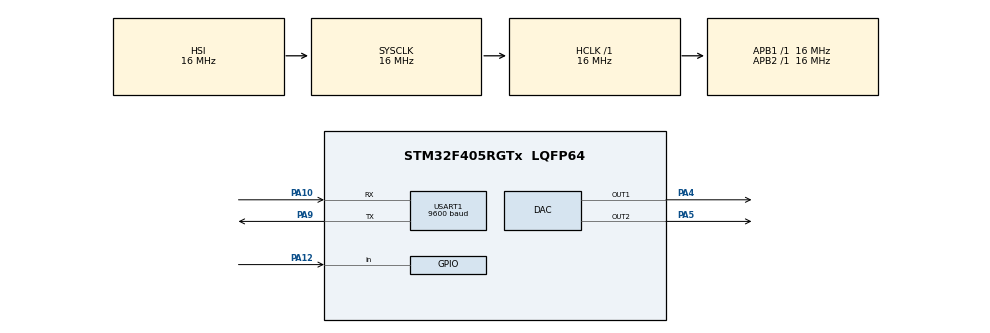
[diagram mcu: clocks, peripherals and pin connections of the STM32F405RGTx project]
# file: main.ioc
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Mcu.Family=STM32F4
Mcu.Name=STM32F405RGTx
Mcu.Package=LQFP64
NVIC.PriorityGroup=NVIC_PRIORITYGROUP_4
PA10.Mode=Asynchronous
PA10.Signal=USART1_RX
PA12.Signal=GPIO_Input
PA13.Mode=Serial_Wire
PA13.Signal=SYS_JTMS-SWDIO
PA14.Mode=Serial_Wire
PA14.Signal=SYS_JTCK-SWCLK
PA4.Signal=COMP_DAC1_group
PA5.Signal=COMP_DAC2_group
PA9.Mode=Asynchronous
PA9.Signal=USART1_TX
PC14-OSC32_IN.Mode=LSE-External-Oscillator
PC14-OSC32_IN.Signal=RCC_OSC32_IN
PC15-OSC32_OUT.Mode=LSE-External-Oscillator
PC15-OSC32_OUT.Signal=RCC_OSC32_OUT
PH0-OSC_IN.Mode=HSE-External-Oscillator
PH0-OSC_IN.Signal=RCC_OSC_IN
PH1-OSC_OUT.Mode=HSE-External-Oscillator
PH1-OSC_OUT.Signal=RCC_OSC_OUT
ProjectManager.HeapSize=0x200
ProjectManager.StackSize=0x400
ProjectManager.TargetToolchain=Makefile
RCC.48MHZClocksFreq_Value=48000000
RCC.AHBFreq_Value=16000000
RCC.APB1Freq_Value=16000000
RCC.APB2Freq_Value=16000000
RCC.CortexFreq_Value=16000000
RCC.HSE_VALUE=16000000
RCC.HSI_VALUE=16000000
RCC.PLLSourceVirtual=RCC_PLLSOURCE_HSE
RCC.RCC_RTC_Clock_SourceVirtual=RCC_RTCCLKSOURCE_LSE
RCC.SYSCLKFreq_VALUE=16000000
RCC.VCOOutputFreq_Value=192000000
SH.COMP_DAC1_group.0=DAC_OUT1,DAC_OUT1
SH.COMP_DAC2_group.0=DAC_OUT2,DAC_OUT2
USART1.BaudRate=9600
USART1.VirtualMode=VM_ASYNC
board=main

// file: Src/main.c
/* vim: set ai et ts=4 sw=4: */
/* USER CODE BEGIN Header */
/**
  ******************************************************************************
  * @file           : main.c
  * @brief          : Main program body
  ******************************************************************************
  ** This notice applies to any and all portions of this file
  * that are not between comment pairs USER CODE BEGIN and
  * USER CODE END. Other portions of this file, whether
  * inserted by the user or by software development tools
  * are owned by their respective copyright owners.
  *
  * COPYRIGHT(c) 2020 STMicroelectronics
  *
  * Redistribution and use in source and binary forms, with or without modification,
  * are permitted provided that the following conditions are met:
  *   1. Redistributions of source code must retain the above copyright notice,
  *      this list of conditions and the following disclaimer.
  *   2. Redistributions in binary form must reproduce the above copyright notice,
  *      this list of conditions and the following disclaimer in the documentation
  *      and/or other materials provided with the distribution.
  *   3. Neither the name of STMicroelectronics nor the names of its contributors
  *      may be used to endorse or promote products derived from this software
  *      without specific prior written permission.
  *
  * THIS SOFTWARE IS PROVIDED BY THE COPYRIGHT HOLDERS AND CONTRIBUTORS "AS IS"
  * AND ANY EXPRESS OR IMPLIED WARRANTIES, INCLUDING, BUT NOT LIMITED TO, THE
  * IMPLIED WARRANTIES OF MERCHANTABILITY AND FITNESS FOR A PARTICULAR PURPOSE ARE
  * DISCLAIMED. IN NO EVENT SHALL THE COPYRIGHT HOLDER OR CONTRIBUTORS BE LIABLE
  * FOR ANY DIRECT, INDIRECT, INCIDENTAL, SPECIAL, EXEMPLARY, OR CONSEQUENTIAL
  * DAMAGES (INCLUDING, BUT NOT LIMITED TO, PROCUREMENT OF SUBSTITUTE GOODS OR
  * SERVICES; LOSS OF USE, DATA, OR PROFITS; OR BUSINESS INTERRUPTION) HOWEVER
  * CAUSED AND ON ANY THEORY OF LIABILITY, WHETHER IN CONTRACT, STRICT LIABILITY,
  * OR TORT (INCLUDING NEGLIGENCE OR OTHERWISE) ARISING IN ANY WAY OUT OF THE USE
  * OF THIS SOFTWARE, EVEN IF ADVISED OF THE POSSIBILITY OF SUCH DAMAGE.
  *
  ******************************************************************************
  */
/* USER CODE END Header */

#include "main.h"

/* USER CODE BEGIN Includes */
#include <string.h>
#include <stdarg.h>
#include <stdbool.h>

/* USER CODE END Includes */

DAC_HandleTypeDef hdac;

UART_HandleTypeDef huart1;

/* USER CODE BEGIN PV */
/* Private variables ---------------------------------------------------------*/

/* USER CODE END PV */

void SystemClock_Config(void);
static void MX_GPIO_Init(void);
static void MX_USART1_UART_Init(void);
static void MX_DAC_Init(void);
/* USER CODE BEGIN PFP */
/* Private function prototypes -----------------------------------------------*/

/* USER CODE END PFP */

/* USER CODE BEGIN 0 */

void UART_Printf(const char* fmt, ...) {
    char buff[256];
    va_list args;
    va_start(args, fmt);
    vsnprintf(buff, sizeof(buff), fmt, args);
    HAL_UART_Transmit(&huart1, (uint8_t*)buff, strlen(buff),
                      HAL_MAX_DELAY);
    va_end(args);
}

uint8_t xs[] = {
    2, 2, 22, 22, 2, 22,                    // R
    27, 48, 48, 27, 27, 27, 48, 48, 27, 48, // 2
    52, 52, 73, 73, 52, 73, 73,             // A
    85, 77, 77, 77, 85, 91, 98, 98, 98, 91, // U
    102, 102, 102, 123, 102, 123,           // K
    };
uint8_t ys[] = {
    42, 84, 84, 63, 63, 42,                 // R
    42, 63, 84, 84, 63, 84, 84, 63, 42, 42, // 2
    42, 84, 84, 63, 63, 63, 42,             // A
    42, 50, 84, 50, 42, 42, 50, 84, 50, 42, // U
    42, 84, 63, 84, 63, 42,                 // K
    };
int16_t idx = 0;
int16_t prev_idx = 0;
uint8_t curr_x = 0;
uint8_t curr_y = 0;
int16_t dx = 0;
int16_t dy = 0;
int8_t direction = 1;

void next_line() {
    const uint8_t speed = 32;
    int8_t next_direction = direction;
    idx += direction;
    if(idx < 0) {
        idx = 0;
        next_direction = -direction;
    } else if(idx >= sizeof(xs)/sizeof(xs[0])) {
        idx = sizeof(xs)/sizeof(xs[0])-1;
        next_direction = -direction;
    }

    prev_idx = idx - direction;
    if(prev_idx < 0) {
        prev_idx = sizeof(xs)/sizeof(xs[0])-1;
    } else if(prev_idx >= sizeof(xs)/sizeof(xs[0])) {
        prev_idx = 0;
    }

    direction = next_direction;
    curr_x = xs[prev_idx];
    curr_y = ys[prev_idx];

    dx = (((int16_t)xs[idx]) - ((int16_t)xs[prev_idx]))/speed;
    dy = (((int16_t)ys[idx]) - ((int16_t)ys[prev_idx]))/speed;
    if(dx == 0) {
        if(xs[idx] > xs[prev_idx]) {
            dx = 1;
        } else if(xs[idx] < xs[prev_idx]) {
            dx = -1;
        }
    }

    if(dy == 0) {
        if(ys[idx] > ys[prev_idx]) {
            dy = 1;
        } else if(ys[idx] < ys[prev_idx]) {
            dy = -1;
        }
    }
}

void init() {
    HAL_DAC_Start(&hdac, DAC_CHANNEL_1);
    HAL_DAC_Start(&hdac, DAC_CHANNEL_2);
    next_line();
    UART_Printf("Ready!\r\n");
    HAL_Delay(1);
}

void loop() {
    curr_x += dx;
    curr_y += dy;
    if(((dx > 0) && (curr_x > xs[idx])) ||
        ((dx < 0) && (curr_x < xs[idx]))) {
        curr_x = xs[idx];
    }
    if(((dy > 0) && (curr_y > ys[idx])) ||
        ((dy < 0) && (curr_y < ys[idx]))) {
        curr_y = ys[idx];
    }

    uint32_t x = ((uint32_t)curr_x)*0xFFF/128;
    uint32_t y = ((uint32_t)curr_y)*0xFFF/128;
    HAL_DAC_SetValue(&hdac, DAC_CHANNEL_1, DAC_ALIGN_12B_R, x);
    HAL_DAC_SetValue(&hdac, DAC_CHANNEL_2, DAC_ALIGN_12B_R, y);

    if((curr_x == xs[idx]) && (curr_y == ys[idx])) {
        next_line();
    }
}

/* USER CODE END 0 */

int main(void)
{

  /* MCU Configuration--------------------------------------------------------*/

  /* Reset of all peripherals, Initializes the Flash interface and the Systick. */
  HAL_Init();

  /* Configure the system clock */
  SystemClock_Config();

  /* Initialize all configured peripherals */
  MX_GPIO_Init();
  MX_USART1_UART_Init();
  MX_DAC_Init();

  /* Infinite loop */
  /* USER CODE BEGIN WHILE */
  init();
  while (1)
  {
    loop();
    /* USER CODE END WHILE */

  }
}

void SystemClock_Config(void)
{
  RCC_OscInitTypeDef RCC_OscInitStruct = {0};
  RCC_ClkInitTypeDef RCC_ClkInitStruct = {0};

  /**Configure the main internal regulator output voltage
  */
  __HAL_RCC_PWR_CLK_ENABLE();
  __HAL_PWR_VOLTAGESCALING_CONFIG(PWR_REGULATOR_VOLTAGE_SCALE1);
  /**Initializes the CPU, AHB and APB busses clocks
  */
  RCC_OscInitStruct.OscillatorType = RCC_OSCILLATORTYPE_HSI;
  RCC_OscInitStruct.HSIState = RCC_HSI_ON;
  RCC_OscInitStruct.HSICalibrationValue = RCC_HSICALIBRATION_DEFAULT;
  RCC_OscInitStruct.PLL.PLLState = RCC_PLL_NONE;
  if (HAL_RCC_OscConfig(&RCC_OscInitStruct) != HAL_OK)
  {
    Error_Handler();
  }
  /**Initializes the CPU, AHB and APB busses clocks
  */
  RCC_ClkInitStruct.ClockType = RCC_CLOCKTYPE_HCLK|RCC_CLOCKTYPE_SYSCLK
                              |RCC_CLOCKTYPE_PCLK1|RCC_CLOCKTYPE_PCLK2;
  RCC_ClkInitStruct.SYSCLKSource = RCC_SYSCLKSOURCE_HSI;
  RCC_ClkInitStruct.AHBCLKDivider = RCC_SYSCLK_DIV1;
  RCC_ClkInitStruct.APB1CLKDivider = RCC_HCLK_DIV1;
  RCC_ClkInitStruct.APB2CLKDivider = RCC_HCLK_DIV1;

  if (HAL_RCC_ClockConfig(&RCC_ClkInitStruct, FLASH_LATENCY_0) != HAL_OK)
  {
    Error_Handler();
  }
}

static void MX_DAC_Init(void)
{

  DAC_ChannelConfTypeDef sConfig = {0};

  /**DAC Initialization
  */
  hdac.Instance = DAC;
  if (HAL_DAC_Init(&hdac) != HAL_OK)
  {
    Error_Handler();
  }
  /**DAC channel OUT1 config
  */
  sConfig.DAC_Trigger = DAC_TRIGGER_NONE;
  sConfig.DAC_OutputBuffer = DAC_OUTPUTBUFFER_ENABLE;
  if (HAL_DAC_ConfigChannel(&hdac, &sConfig, DAC_CHANNEL_1) != HAL_OK)
  {
    Error_Handler();
  }
  /**DAC channel OUT2 config
  */
  if (HAL_DAC_ConfigChannel(&hdac, &sConfig, DAC_CHANNEL_2) != HAL_OK)
  {
    Error_Handler();
  }

}

static void MX_USART1_UART_Init(void)
{

  huart1.Instance = USART1;
  huart1.Init.BaudRate = 9600;
  huart1.Init.WordLength = UART_WORDLENGTH_8B;
  huart1.Init.StopBits = UART_STOPBITS_1;
  huart1.Init.Parity = UART_PARITY_NONE;
  huart1.Init.Mode = UART_MODE_TX_RX;
  huart1.Init.HwFlowCtl = UART_HWCONTROL_NONE;
  huart1.Init.OverSampling = UART_OVERSAMPLING_16;
  if (HAL_UART_Init(&huart1) != HAL_OK)
  {
    Error_Handler();
  }

}

static void MX_GPIO_Init(void)
{
  GPIO_InitTypeDef GPIO_InitStruct = {0};

  /* GPIO Ports Clock Enable */
  __HAL_RCC_GPIOC_CLK_ENABLE();
  __HAL_RCC_GPIOH_CLK_ENABLE();
  __HAL_RCC_GPIOA_CLK_ENABLE();

  /*Configure GPIO pin : PA12 */
  GPIO_InitStruct.Pin = GPIO_PIN_12;
  GPIO_InitStruct.Mode = GPIO_MODE_INPUT;
  GPIO_InitStruct.Pull = GPIO_NOPULL;
  HAL_GPIO_Init(GPIOA, &GPIO_InitStruct);

}

void Error_Handler(void)
{
  while(1)
  {
  }
}

/************************ (C) COPYRIGHT STMicroelectronics *****END OF FILE****/
